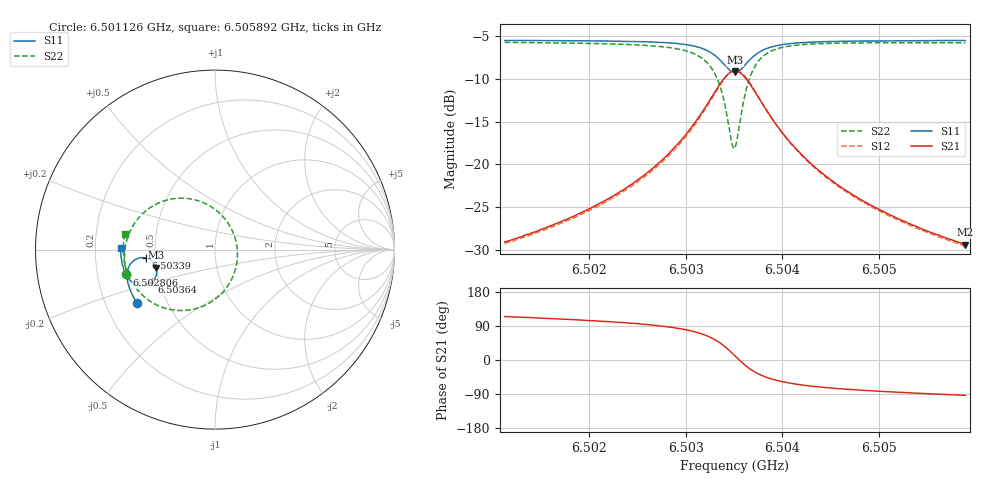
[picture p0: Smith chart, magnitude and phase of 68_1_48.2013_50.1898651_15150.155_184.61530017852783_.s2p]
#  HZ  S  RI  R  50.00
! Rohde & Schwarz Vector Network Analyzer
! Rohde-Schwarz,ZNB20-2Port,1311601062101988,3.16
! Created: UTC 3/20/2024, 11:39:03 AM
! freq[Hz]  re:S11  im:S11  re:S21  im:S21  re:S12  im:S12  re:S22  im:S22
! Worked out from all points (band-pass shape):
!   401 points, 6.501126 GHz to 6.505892 GHz, reference 50 ohm
!   highest |S21| = -9.12 dB at 6.503509 GHz (marker M1); lowest = -29.3 dB at 6.505892 GHz (marker M2)
!   |S21| within 3 dB of the highest: 6.50327 GHz to 6.503747 GHz (476.7 kHz wide, 0.00733 % of centre)
!   lowest |S11| = -9.3 dB at 6.503509 GHz (marker M3), VSWR 2.04, Z = 24.9 - j5.7 ohm
!   |S11| at or under -10 dB: nowhere
!   |S22| runs from -18.2 to -5.8 dB; largest |S21 - S12| = 0.012
!   S11 on the Smith chart (normalised r, x): 6.501126 GHz: 0.34, -0.28; 6.502806 GHz: 0.33, -0.13; 6.50339 GHz: 0.44, -0.05; 6.50364 GHz: 0.45, -0.20; 6.505892 GHz: 0.31, +0.01
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6.5011256e9  -0.4343 -0.2976  -0.0149 0.0322  -0.013 0.0322  -0.4945 -0.137
6.501924e9  -0.4675 -0.2368  -0.0139 0.0508  -0.0114 0.0503  -0.5046 -0.049
6.5023768e9  -0.4826 -0.1951  -0.0105 0.0719  -0.0072 0.0707  -0.499 0.0192
6.5027223e9  -0.4899 -0.1552  -0.000736 0.1023  0.0031 0.0996  -0.4771 0.0933
6.5028057e9  -0.4902 -0.1433  0.00441 0.1129  0.00821 0.1099  -0.466 0.1167
6.5030083e9  -0.4852 -0.1092  0.0278 0.1486  0.0316 0.1439  -0.417 0.1861
6.5031513e9  -0.4704 -0.0791  0.0665 0.1831  0.0695 0.1769  -0.3415 0.2459
6.5032943e9  -0.4311 -0.0494  0.1512 0.2122  0.152 0.2056  -0.187 0.2865
6.5033419e9  -0.4091 -0.0447  0.1953 0.2103  0.1954 0.2044  -0.1099 0.2768
6.5033896e9  -0.3829 -0.0472  0.2458 0.1942  0.2459 0.1894  -0.0234 0.2403
6.503473e9  -0.3387 -0.078  0.3259 0.1164  0.3286 0.1119  0.1045 0.0863
6.5035088e9  -0.3277 -0.101  0.3437 0.0658  0.3475 0.06  0.1251 -0.00887
6.5035326e9  -0.3248 -0.118  0.347 0.03  0.3511 0.0229  0.1217 -0.0746
6.5035683e9  -0.3272 -0.1428  0.3388 -0.0217  0.3425 -0.0311  0.0924 -0.1664
6.5036398e9  -0.3504 -0.181  0.29 -0.0999  0.2898 -0.112  -0.0229 -0.2927
6.5037352e9  -0.3925 -0.2012  0.2091 -0.1438  0.2038 -0.1545  -0.1878 -0.3395
6.5038901e9  -0.4429 -0.1938  0.1184 -0.1426  0.1109 -0.1483  -0.3526 -0.2933
6.5040569e9  -0.4726 -0.1726  0.0693 -0.1209  0.0624 -0.1234  -0.4323 -0.2241
6.5043071e9  -0.4953 -0.1414  0.0354 -0.0933  0.0304 -0.0938  -0.481 -0.1444
6.5047003e9  -0.5121 -0.0991  0.0144 -0.0666  0.011 -0.0661  -0.5053 -0.0618
6.5051055e9  -0.5205 -0.0611  0.00538 -0.0509  0.00298 -0.0501  -0.5109 -0.00213
6.5058919e9  -0.526 0.00637  -0.00192 -0.0341  -0.00332 -0.0333  -0.5038 0.0842
